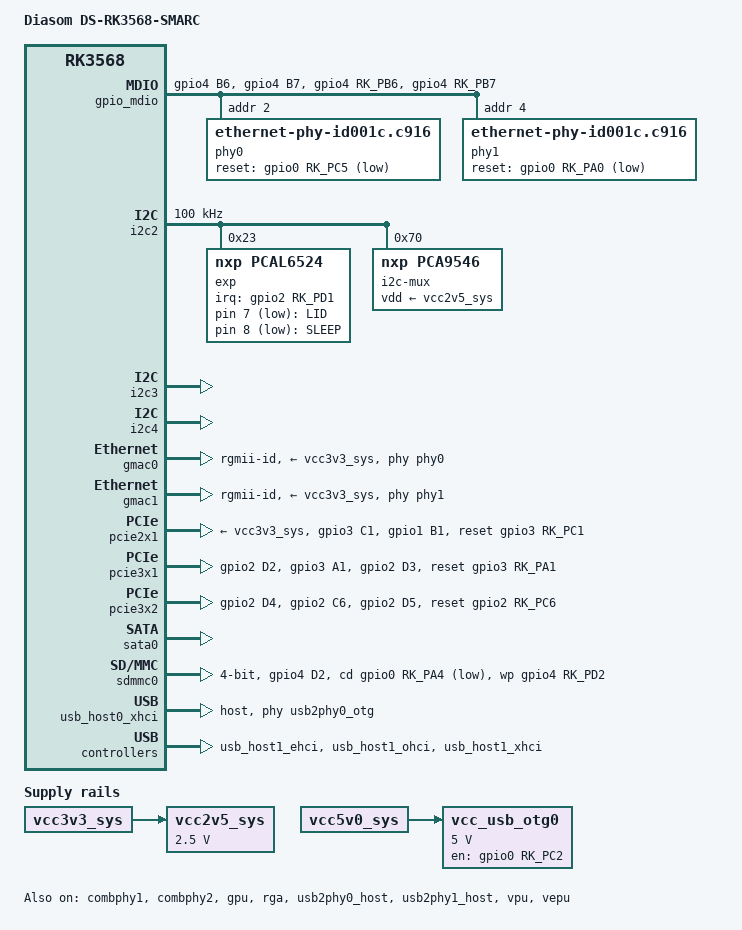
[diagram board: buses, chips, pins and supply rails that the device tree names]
/* SPDX-License-Identifier: GPL-2.0+ */
/* SPDX-FileCopyrightText: Alexander Shiyan <shc_work@mail.ru> */

/dts-v1/;

#include "rk3568-diasom-som.dtsi"

/ {
	model = "Diasom DS-RK3568-SMARC";
	compatible = "diasom,ds-rk3568-som-smarc",
		     "diasom,ds-rk3568-som",
		     "rockchip,rk3568";

	aliases {
		can0 = &can0;
		can1 = &can2;
		ethernet0 = &gmac0;
		ethernet1 = &gmac1;
		mdio-gpio0 = &gpio_mdio;
		i2c6 = &i2c6;
		i2c7 = &i2c7;
		i2c8 = &i2c8;
		i2c9 = &i2c9;
		rtc1 = &pmic;
	};

	gpio-keys {
		compatible = "gpio-keys";

		lid {
			label = "LID";
			linux,code = <SW_LID>;
			linux,input-type = <EV_SW>;
			gpios = <&exp 7 GPIO_ACTIVE_LOW>;
		};

		sleep {
			label = "SLEEP";
			linux,code = <KEY_SLEEP>;
			linux,input-type = <EV_KEY>;
			gpios = <&exp 8 GPIO_ACTIVE_LOW>;
		};
	};

	gpio_mdio: gpio-mdio {
		pinctrl-names = "default";
		pinctrl-0 = <&gpio_mdio_pins>;
		compatible = "virtual,mdio-gpio";
		gpios = <&gpio4 RK_PB6 GPIO_ACTIVE_HIGH
			 &gpio4 RK_PB7 GPIO_ACTIVE_HIGH>;
		#address-cells = <1>;
		#size-cells = <0>;

		phy0: phy@2 {
			/* RTL8211F */
			pinctrl-names = "default";
			pinctrl-0 = <&gmac0_rst_pins>;
			compatible = "ethernet-phy-id001c.c916";
			reg = <0x2>;
			reset-assert-us = <20000>;
			reset-deassert-us = <100000>;
			reset-gpios = <&gpio0 RK_PC5 GPIO_ACTIVE_LOW>;
		};

		phy1: phy@4 {
			/* RTL8211F */
			pinctrl-names = "default";
			pinctrl-0 = <&gmac1_rst_pins>;
			compatible = "ethernet-phy-id001c.c916";
			reg = <0x4>;
			reset-assert-us = <20000>;
			reset-deassert-us = <100000>;
			reset-gpios = <&gpio0 RK_PA0 GPIO_ACTIVE_LOW>;
		};
	};

	pps: pps {
		compatible = "pps-gpio";
		status = "disabled";
	};

	vcc2v5_sys: vcc2v5-sys-regulator {
		compatible = "regulator-fixed";
		regulator-name = "2v5_sys";
		regulator-always-on;
		regulator-boot-on;
		regulator-min-microvolt = <2500000>;
		regulator-max-microvolt = <2500000>;
		vin-supply = <&vcc3v3_sys>;
	};

	vcc_usb_otg0: vcc-usb-host0-regulator {
		pinctrl-names = "default";
		pinctrl-0 = <&usb_host0_vcc_pins>;
		compatible = "regulator-fixed";
		enable-active-high;
		gpio = <&gpio0 RK_PC2 GPIO_ACTIVE_HIGH>;
		regulator-name = "vcc_usb_otg0";
		regulator-boot-on;
		regulator-min-microvolt = <5000000>;
		regulator-max-microvolt = <5000000>;
		vin-supply = <&vcc5v0_sys>;
	};
};

&can0 {
	/* CAN0 */
};

&can2 {
	/* CAN1 */
	pinctrl-0 = <&can2m1_pins>;
};

&combphy0 {
	/* SATA0 */
};

&combphy1 {
	/* USB3.0 HOST1 */
	status = "okay";
};

&combphy2 {
	/* PCI-E 2.0 */
	phy-supply = <&vcc3v3_sys>;
	status = "okay";
};

&i2c2 {
	pinctrl-0 = <&i2c2m1_xfer>;
	clock-frequency = <100000>;
	status = "okay";

	exp: gpio@23 {
		/* DD23 */
		pinctrl-names = "default";
		pinctrl-0 = <&exp_pins>;
		compatible = "nxp,pcal6524";
		reg = <0x23>;
		gpio-controller;
		#gpio-cells = <2>;
		interrupt-controller;
		#interrupt-cells = <2>;
		interrupt-parent = <&gpio2>;
		interrupts = <RK_PD1 IRQ_TYPE_LEVEL_LOW>;
	};

	i2c-mux@70 {
		/* DD24 */
		compatible = "nxp,pca9546";
		reg = <0x70>;
		i2c-mux-idle-disconnect;
		vdd-supply = <&vcc2v5_sys>;
		#address-cells = <1>;
		#size-cells = <0>;

		i2c6: i2c@0 {
			/* I2C_CAM0 */
			reg = <0>;
			#address-cells = <1>;
			#size-cells = <0>;
		};

		i2c7: i2c@1 {
			/* I2C_CAM1 */
			reg = <1>;
			#address-cells = <1>;
			#size-cells = <0>;
		};

		i2c8: i2c@2 {
			/* I2C_LCD */
			reg = <2>;
			#address-cells = <1>;
			#size-cells = <0>;
		};

		i2c9: i2c@3 {
			reg = <3>;
			#address-cells = <1>;
			#size-cells = <0>;
		};
	};
};

&i2c3 {
	/* I2C_GP */
	status = "okay";
};

&i2c4 {
	/* I2C_PM */
	status = "okay";
};

&i2s1_8ch {
	/* I2S0 */
	pinctrl-0 = <
		&i2s1m1_mclk &i2s1m1_sclktx
		&i2s1m1_lrcktx &i2s1m1_sdo0
		&i2s1m1_sdi0
	>;
	rockchip,trcm-sync-tx-only;
};

&gmac0 {
	/* GBE0 */
	assigned-clocks = <&cru SCLK_GMAC0_RX_TX>, <&cru SCLK_GMAC0>;
	assigned-clock-parents = <&cru SCLK_GMAC0_RGMII_SPEED>;
	assigned-clock-rates = <0>, <125000000>;
	pinctrl-names = "default";
	pinctrl-0 = <
		&gmac0_tx_bus2 &gmac0_rx_bus2
		&gmac0_rgmii_clk &gmac0_rgmii_bus
	>;
	clock_in_out = "output";
	phy-handle = <&phy0>;
	phy-mode = "rgmii-id";
	phy-supply = <&vcc3v3_sys>;
};

&gmac1 {
	/* GBE1 */
	assigned-clocks = <&cru SCLK_GMAC1_RX_TX>, <&cru SCLK_GMAC1>;
	assigned-clock-parents = <&cru SCLK_GMAC1_RGMII_SPEED>;
	assigned-clock-rates = <0>, <125000000>;
	pinctrl-names = "default";
	pinctrl-0 = <
		&gmac1m1_tx_bus2 &gmac1m1_rx_bus2
		&gmac1m1_rgmii_clk &gmac1m1_rgmii_bus
	>;
	clock_in_out = "output";
	phy-handle = <&phy1>;
	phy-mode = "rgmii-id";
	phy-supply = <&vcc3v3_sys>;
};

&gpu {
	status = "okay";
};

&hdmi {
	/* HDMI */
	pinctrl-0 = <&hdmitx_scl &hdmitx_sda>;
};

&mdio0 {
	status = "disabled";
};

&mdio1 {
	status = "disabled";
};

&pcie2x1 {
	/* PCIE_C */
	pinctrl-names = "default";
	pinctrl-0 = <&pcie2x1_pins>;
	reset-gpios = <&gpio3 RK_PC1 GPIO_ACTIVE_HIGH>;
	vpcie3v3-supply = <&vcc3v3_sys>;
};

&pcie3x1 {
	/* PCIE_B */
	pinctrl-names = "default";
	pinctrl-0 = <&pcie30x1_pins>;
	reset-gpios = <&gpio3 RK_PA1 GPIO_ACTIVE_HIGH>;
};

&pcie3x2 {
	/* PCIE_A */
	pinctrl-names = "default";
	pinctrl-0 = <&pcie30x2_pins>;
	reset-gpios = <&gpio2 RK_PC6 GPIO_ACTIVE_HIGH>;
};

&pwm4 {
	/* LCD0_BKLT_PWM */
};

&pwm5 {
	/* LCD1_BKLT_PWM */
};

&rga {
	status = "okay";
};

&sata0 {
	/* SATA */
	status = "okay";
};

&sdmmc0 {
	/* SDIO */
	pinctrl-names = "default";
	pinctrl-0 = <
		&sdmmc0_bus4 &sdmmc0_clk &sdmmc0_cmd
		&sdmmc0_det &sdmmc0_wp
	>;
	bus-width = <4>;
	cd-gpios = <&gpio0 RK_PA4 GPIO_ACTIVE_LOW>;
	wp-gpios = <&gpio4 RK_PD2 GPIO_ACTIVE_HIGH>;
};

&spi2 {
	/* SPI0 */
	num-cs = <2>;
};

&spi3 {
	/* SPI1 */
	pinctrl-0 = <&spi3m1_cs0 &spi3m1_cs1 &spi3m1_pins>;
	num-cs = <2>;
};

&uart2 {
	/* SER1 */
};

&uart4 {
	/* SER0 */
	pinctrl-0 = <&uart4m0_xfer &uart4m0_ctsn &uart4m0_rtsn>;
};

&uart5 {
	/* SER3 */
	pinctrl-0 = <&uart5m1_xfer>;
};

&uart8 {
	/* SER2 */
	pinctrl-0 = <&uart8m1_xfer>;
};

&usb_host0_xhci {
	/* USB0 */
	phys = <&usb2phy0_otg>;
	phy-names = "usb2-phy";
	maximum-speed = "high-speed";
	dr_mode = "host";
};

&usb_host1_ehci {
	status = "okay";
};

&usb_host1_ohci {
	status = "okay";
};

&usb_host1_xhci {
	status = "okay";
};

&usb2phy0_host {
	status = "okay";
};

&usb2phy0_otg {
	phy-supply = <&vcc_usb_otg0>;
};

&usb2phy1_host {
	status = "okay";
};

&vpu {
	status = "okay";
};

&vdpu_mmu {
	status = "okay";
};

&vepu {
	status = "okay";
};

&vepu_mmu {
	status = "okay";
};

&pinctrl {
	pinctrl-names = "default";
	pinctrl-0 = <&rstout_pins>;

	exp {
		exp_pins: exp-pins {
			rockchip,pins =
				<2 RK_PD1 RK_FUNC_GPIO &pcfg_pull_none>;	/* GPIO_EXP_INT */
		};
	};

	mmc {
		sdmmc0_wp: sdmmc0-wp-pins {
			rockchip,pins =
				<4 RK_PD2 RK_FUNC_GPIO &pcfg_pull_up>;		/* SDMMC0_WP */
		};
	};

	net {
		gmac0_rst_pins: gmac0-rst-pins {
			rockchip,pins =
				<0 RK_PC5 RK_FUNC_GPIO &pcfg_pull_none>;	/* GMAC0_RST */
		};

		gmac1_rst_pins: gmac1-rst-pins {
			rockchip,pins =
				<0 RK_PA0 RK_FUNC_GPIO &pcfg_pull_none>;	/* GMAC1_RST */
		};

		gpio_mdio_pins: gpio-mdio-pins {
			rockchip,pins =
				<4 RK_PB6 RK_FUNC_GPIO &pcfg_pull_none>,	/* MDC */
				<4 RK_PB7 RK_FUNC_GPIO &pcfg_pull_none>;	/* MDIO */
		};
	};

	pci {
		pcie2x1_pins: pcie2x1-pins {
			rockchip,pins =
				<3 RK_PC1 RK_FUNC_GPIO &pcfg_pull_none>,	/* pcie20_perstnm1# */
				<1 RK_PB1 4 &pcfg_pull_none>;			/* pcie20_wakenm2 */
		};

		pcie30x1_pins: pcie30x1-pins {
			rockchip,pins =
				<2 RK_PD2 4 &pcfg_pull_none>,			/* pcie30x1_clkreqnm1 */
				<3 RK_PA1 RK_FUNC_GPIO &pcfg_pull_up>,		/* pcie30x1_perstnm1 */
				<2 RK_PD3 4 &pcfg_pull_none>;			/* pcie30x1_wakenm1 */
		};

		pcie30x2_pins: pcie30x2-pins {
			rockchip,pins =
				<2 RK_PD4 4 &pcfg_pull_none>,			/* pcie30x2_clkreqnm1 */
				<2 RK_PC6 RK_FUNC_GPIO &pcfg_pull_up>,		/* PCIE30X2_PERSTN */
				<2 RK_PD5 4 &pcfg_pull_none>;			/* pcie30x2_wakenm1 */
		};
	};

	rst {
		rstout_pins: rst-pins {
			rockchip,pins =
				<3 RK_PD4 RK_FUNC_GPIO &pcfg_output_high>;	/* RESET_OUT */
		};
	};

	usb {
		usb_host0_vcc_pins: usb-host0-vcc-pins {
			rockchip,pins =
				<0 RK_PC2 RK_FUNC_GPIO &pcfg_pull_none>;	/* USB_OTG_EN_OC# */
		};
	};
};
